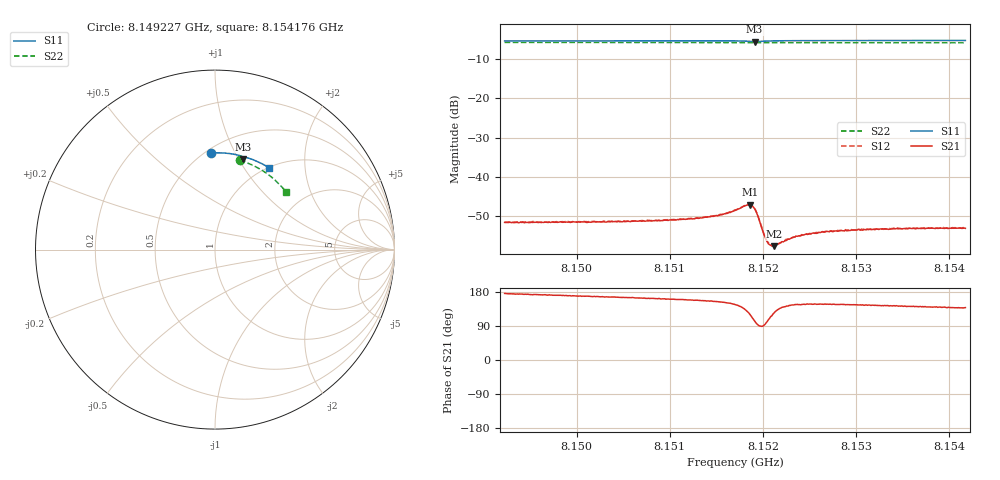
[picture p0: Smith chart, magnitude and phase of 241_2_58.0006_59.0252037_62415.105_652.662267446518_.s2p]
#  HZ  S  RI  R  50.00
! Rohde & Schwarz Vector Network Analyzer
! Rohde-Schwarz,ZNB20-2Port,1311601062101988,3.16
! Created: UTC 3/21/2024, 1:01:04 AM
! freq[Hz]  re:S11  im:S11  re:S21  im:S21  re:S12  im:S12  re:S22  im:S22
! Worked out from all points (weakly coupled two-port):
!   401 points, 8.149227 GHz to 8.154176 GHz, reference 50 ohm
!   highest |S21| = -47.06 dB at 8.151862 GHz (marker M1); lowest = -57.6 dB at 8.152122 GHz (marker M2)
!   lowest |S11| = -5.5 dB at 8.151912 GHz (marker M3), VSWR 3.24, Z = 37.3 + j52.2 ohm
!   |S11| at or under -10 dB: nowhere
!   |S22| runs from -5.9 to -5.7 dB; largest |S21 - S12| = 0.00011
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8.149227e9  -0.024 0.5381  -0.00262 0.000199  -0.00264 0.000262  0.1377 0.4971
8.150056e9  0.0339 0.5389  -0.00261 0.000555  -0.00261 0.000576  0.1885 0.4793
8.150885e9  0.092 0.5335  -0.00267 0.000839  -0.00266 0.000895  0.2368 0.4563
8.1513799e9  0.1268 0.5268  -0.00283 0.00122  -0.0028 0.00126  0.2644 0.4401
8.1515407e9  0.1385 0.5236  -0.00292 0.00147  -0.00295 0.00156  0.2732 0.4346
8.1517016e9  0.1509 0.5185  -0.00311 0.00207  -0.00314 0.00214  0.2817 0.4286
8.1518129e9  0.1585 0.5113  -0.00291 0.00316  -0.00287 0.00327  0.2876 0.4243
8.1518624e9  0.159 0.5067  -0.0022 0.00385  -0.00218 0.00388  0.29 0.4223
8.1518872e9  0.1581 0.5049  -0.00157 0.00396  -0.00154 0.00401  0.291 0.4214
8.1519119e9  0.1561 0.5045  -0.000869 0.00385  -0.00083 0.00385  0.2923 0.4205
8.151949e9  0.1545 0.5064  -0.000131 0.00314  -6.7e-05 0.00316  0.294 0.4194
8.1520109e9  0.157 0.5112  -4.76e-05 0.00186  -5.26e-05 0.0019  0.2973 0.4173
8.1520356e9  0.1591 0.5123  -0.000224 0.00157  -0.000227 0.00158  0.2986 0.4164
8.1520728e9  0.1625 0.5132  -0.000462 0.00129  -0.000462 0.0013  0.3007 0.415
8.1520975e9  0.1648 0.5135  -0.000598 0.00118  -0.000601 0.00118  0.3019 0.4141
8.1521223e9  0.1671 0.5135  -0.000744 0.00108  -0.000736 0.0011  0.3031 0.413
8.1523326e9  0.1838 0.5104  -0.00141 0.000976  -0.0014 0.00097  0.314 0.4048
8.1525306e9  0.1978 0.5061  -0.00161 0.00104  -0.00162 0.00106  0.3237 0.3967
8.1527038e9  0.2096 0.5018  -0.00168 0.00109  -0.00169 0.00109  0.3319 0.3894
8.1529141e9  0.2235 0.4963  -0.00171 0.00115  -0.00174 0.0012  0.3419 0.3804
8.1533595e9  0.2518 0.4834  -0.00171 0.00131  -0.00175 0.00134  0.3622 0.3603
8.1541761e9  0.3012 0.4556  -0.00165 0.00147  -0.00165 0.00155  0.396 0.3211
